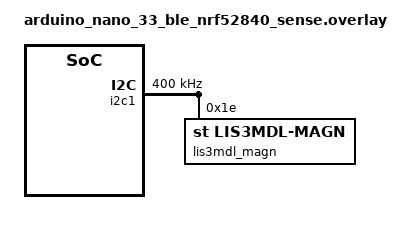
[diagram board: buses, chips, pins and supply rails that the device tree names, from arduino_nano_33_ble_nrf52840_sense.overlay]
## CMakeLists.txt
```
# SPDX-License-Identifier: Apache-2.0

cmake_minimum_required(VERSION 3.20.0)
find_package(Zephyr REQUIRED HINTS $ENV{ZEPHYR_BASE})
project(boreas)

target_sources(
    app
    PRIVATE
    src/environment.cpp
    src/environment.hpp
    src/imu.cpp
    src/imu.hpp
    src/main.cpp
    src/universalConstants.hpp
)
```

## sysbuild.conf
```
SB_CONFIG_BOOTLOADER_MCUBOOT=y
SB_CONFIG_BOOT_SIGNATURE_KEY_FILE="\${APPLICATION_CONFIG_DIR}/priv.pem"
SB_CONFIG_BOOT_SIGNATURE_TYPE_ECDSA_P256=y
SB_CONFIG_MCUBOOT_MODE_SINGLE_APP=y
```

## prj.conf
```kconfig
# Zephyr drivers
CONFIG_GPIO=y
CONFIG_SENSOR=y
CONFIG_I2C=y

# IMU drivers (LSM9DS1 for gyro and accelerometer, LIS3MDL for magnetometer)
CONFIG_LSM9DS1=y
CONFIG_LIS3MDL=y

# 80 Hz sampling rate for magnetometer
CONFIG_LIS3MDL_ODR="80"

# Enable logging via Segger realtime terminal
CONFIG_LOG=y
CONFIG_LOG_INFO_COLOR_GREEN=y
CONFIG_LOG_DBG_COLOR_BLUE=y
CONFIG_CBPRINTF_FP_SUPPORT=y
CONFIG_USE_SEGGER_RTT=y
CONFIG_DEBUG_OPTIMIZATIONS=y

CONFIG_HTS221_TRIGGER_NONE=y

# Enable C++ and standard library
CONFIG_CPP=y
CONFIG_NEWLIB_LIBC=y
CONFIG_GLIBCXX_LIBCPP=y
CONFIG_COMPILER_WARNINGS_AS_ERRORS=y

# Enable floating point support in multi-threaded environment
CONFIG_FPU=y
CONFIG_FPU_SHARING=y

# Zephyr scientific library
CONFIG_ZSL=y
CONFIG_ZSL_SINGLE_PRECISION=y
```

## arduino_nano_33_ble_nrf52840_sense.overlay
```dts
// To get started, press Ctrl+Space to bring up the completion menu and view the available nodes.

// You can also use the buttons in the sidebar to perform actions on nodes.
// Actions currently available include:

// * Enabling / disabling the node
// * Adding the bus to a bus
// * Removing the node
// * Connecting ADC channels

// For more help, browse the DeviceTree documentation at https: //docs.zephyrproject.org/latest/guides/dts/index.html
// You can also visit the nRF DeviceTree extension documentation at https: //docs.nordicsemi.com/bundle/nrf-connect-vscode/page/guides/ncs_configure_app.html#devicetree-support-in-the-extension

/{
	chosen{
		zephyr,code-partition = &slot0_partition;
	};
};

&lsm9ds1 {
	// Accelerometer and gyro set to measure at 59.5 Hz
	imu-odr = <34>;
};

&i2c1 {
	lis3mdl_magn: lis3mdl-magn@1e {
		compatible = "st,lis3mdl-magn";
		reg = <0x1e>;
		status = "okay";
	};

	clock-frequency = <I2C_BITRATE_FAST>;
};

&flash0 {
	/delete-node/ partitions;

	partitions {
		compatible = "fixed-partitions";
		#address-cells = <1>;
		#size-cells = <1>;

		boot_partition: partition@0 {
			label = "mcuboot";
			reg = <0x00000000 0x0000C000>;
		};

		slot0_partition: partition@c000 {
			label = "image-0";
			reg = <0x0000C000 0x00077000>;
		};

		slot1_partition: partition@83000 {
			label = "image-1";
			reg = <0x00083000 0x00075000>;
		};

		/*
		 * The flash starting at 0x000f8000 and ending at
		 * 0x000fffff is reserved for use by the application.
		 */

		/*
		 * Storage partition will be used by FCB/LittleFS/NVS
		 * if enabled.
		 */
		storage_partition: partition@f8000 {
			label = "storage";
			reg = <0x000f8000 0x00008000>;
		};
	};
};
```

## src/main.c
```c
/*
 * Copyright (c) 2016 Intel Corporation
 *
 * SPDX-License-Identifier: Apache-2.0
 */

#include <stdio.h>
#include <zephyr/kernel.h>
#include <zephyr/drivers/gpio.h>
#include <zephyr/drivers/sensor.h>

/* 1000 msec = 1 sec */
#define SLEEP_TIME_MS 1000

/* The devicetree node identifier for the "led0" alias. */
#define LED3_NODE DT_ALIAS(led3)

/*
 * A build error on this line means your board is unsupported.
 * See the sample documentation for information on how to fix this.
 */
static const struct gpio_dt_spec led = GPIO_DT_SPEC_GET(LED3_NODE, gpios);

static inline float out_ev(struct sensor_value *val)
{
	return (val->val1 + (float)val->val2 / 1000000);
}

static void process_sample_imu(const struct device *dev)
{
	struct sensor_value x, y, z;

	/* lsm6dso accel */
	sensor_sample_fetch_chan(dev, SENSOR_CHAN_ACCEL_XYZ);
	sensor_channel_get(dev, SENSOR_CHAN_ACCEL_X, &x);
	sensor_channel_get(dev, SENSOR_CHAN_ACCEL_Y, &y);
	sensor_channel_get(dev, SENSOR_CHAN_ACCEL_Z, &z);

	printk("%s\t - accel x:%f ms/2 y:%f ms/2 z:%f ms/2\n", dev->name, (double)out_ev(&x), (double)out_ev(&y), (double)out_ev(&z));

	/* lsm6dso gyro */
	sensor_sample_fetch_chan(dev, SENSOR_CHAN_GYRO_XYZ);
	sensor_channel_get(dev, SENSOR_CHAN_GYRO_X, &x);
	sensor_channel_get(dev, SENSOR_CHAN_GYRO_Y, &y);
	sensor_channel_get(dev, SENSOR_CHAN_GYRO_Z, &z);

	printk("%s\t - gyro x:%f rad/s y:%f rad/s z:%f rad/s\n", dev->name, (double)out_ev(&x), (double)out_ev(&y), (double)out_ev(&z));
}

static int set_sampling_freq_imu(const struct device *dev)
{
	int ret = 0;
	struct sensor_value odr_attr;

	/* set accel/gyro sampling frequency to 12.5 Hz */
	odr_attr.val1 = 12.5;
	odr_attr.val2 = 0;

	ret = sensor_attr_set(dev, SENSOR_CHAN_ACCEL_XYZ,
						  SENSOR_ATTR_SAMPLING_FREQUENCY, &odr_attr);
	if (ret != 0)
	{
		printk("Cannot set sampling frequency for accelerometer.\n");
		return ret;
	}

	ret = sensor_attr_set(dev, SENSOR_CHAN_GYRO_XYZ,
						  SENSOR_ATTR_SAMPLING_FREQUENCY, &odr_attr);
	if (ret != 0)
	{
		printk("Cannot set sampling frequency for gyro.\n");
		return ret;
	}

	return 0;
}

static void process_sample_pressure(const struct device *dev)
{
	struct sensor_value pressure, temp;

	if (sensor_sample_fetch(dev) < 0)
	{
		printk("Sensor sample update error\n");
		return;
	}

	if (sensor_channel_get(dev, SENSOR_CHAN_PRESS, &pressure) < 0)
	{
		printk("Cannot read LPS22HB pressure channel\n");
		return;
	}

	if (sensor_channel_get(dev, SENSOR_CHAN_AMBIENT_TEMP, &temp) < 0)
	{
		printk("Cannot read LPS22HB temperature channel\n");
		return;
	}

	/* display pressure */
	printk("%s\t - Pressure:%.1f kPa\n", dev->name, sensor_value_to_double(&pressure));

	/* display temperature */
	printk("%s\t - Temperature:%.1f C\n", dev->name, sensor_value_to_double(&temp));
}

static void process_sample_humidity(const struct device *dev)
{
	struct sensor_value temp, hum;
	if (sensor_sample_fetch(dev) < 0)
	{
		printk("Sensor sample update error\n");
		return;
	}

	if (sensor_channel_get(dev, SENSOR_CHAN_AMBIENT_TEMP, &temp) < 0)
	{
		printk("Cannot read HTS221 temperature channel\n");
		return;
	}

	if (sensor_channel_get(dev, SENSOR_CHAN_HUMIDITY, &hum) < 0)
	{
		printk("Cannot read HTS221 humidity channel\n");
		return;
	}

	/* display temperature */
	printk("%s\t - Temperature:%.1f C\n", dev->name, sensor_value_to_double(&temp));

	/* display humidity */
	printk("%s\t - Relative Humidity:%.1f%%\n", dev->name, sensor_value_to_double(&hum));
}

int main(void)
{
	int ret;
	bool ledState = true;

	const struct device *const imu = DEVICE_DT_GET_ONE(st_lsm9ds1);
	const struct device *const pressureSensor = DEVICE_DT_GET_ONE(st_lps22hb_press);
	const struct device *const humiditySensor = DEVICE_DT_GET_ONE(st_hts221);

	if (!device_is_ready(imu))
	{
		printk("%s: device not ready.\n", imu->name);
		return 0;
	}

	if (!device_is_ready(pressureSensor))
	{
		printk("%s: device not ready.\n", pressureSensor->name);
		return 0;
	}

	if (!device_is_ready(humiditySensor))
	{
		printk("%s: device not ready.\n", humiditySensor->name);
		return 0;
	}

	if (!gpio_is_ready_dt(&led))
	{
		printk("LED GPIO not ready.\n");
		return 0;
	}

	ret = gpio_pin_configure_dt(&led, GPIO_OUTPUT_ACTIVE);
	if (ret < 0)
	{
		return 0;
	}

	if (set_sampling_freq_imu(imu) != 0)
	{
		return 0;
	}

	while (1)
	{
		ret = gpio_pin_toggle_dt(&led);
		if (ret < 0)
		{
			return 0;
		}

		ledState = !ledState;
		printk("LED state: %s\n", ledState ? "ON" : "OFF");
		process_sample_imu(imu);
		process_sample_pressure(pressureSensor);
		process_sample_humidity(humiditySensor);
		k_msleep(SLEEP_TIME_MS);
	}
	return 0;
}
```

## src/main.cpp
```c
/*
 * Copyright (c) 2016 Intel Corporation
 *
 * SPDX-License-Identifier: Apache-2.0
 */

#include "environment.hpp"
#include "imu.hpp"

#include <zephyr/kernel.h>
#include <zephyr/drivers/gpio.h>
#include <zephyr/logging/log.h>

/* 1000 msec = 1 sec */
#define sleepTime_MS 1000

/* The devicetree node identifier for the "led0" alias. */
#define LED3_NODE DT_ALIAS(led3)

#define IMU_STACK_SIZE 1000
#define IMU_PRIORITY 5
#define ENVIRONMENT_STACK_SIZE 500
#define ENVIRONMENT_PRIORITY 6

/*
 * A build error on this line means your board is unsupported.
 * See the sample documentation for information on how to fix this.
 */
static const struct gpio_dt_spec led = GPIO_DT_SPEC_GET(LED3_NODE, gpios);

LOG_MODULE_REGISTER(app);

K_THREAD_DEFINE(imu_tid, IMU_STACK_SIZE,
				Imu::thread, NULL, NULL, NULL,
				IMU_PRIORITY, 0, 0);

K_THREAD_DEFINE(environment_tid, ENVIRONMENT_STACK_SIZE,
				Env::thread, NULL, NULL, NULL,
				ENVIRONMENT_PRIORITY, 0, 0);

int main(void)
{
	int ret;
	bool ledState = true;

	if (!gpio_is_ready_dt(&led))
	{
		LOG_ERR("LED GPIO not ready.");
		return 0;
	}

	ret = gpio_pin_configure_dt(&led, GPIO_OUTPUT_ACTIVE);
	if (ret < 0)
	{
		LOG_ERR("Failed to configure LED GPIO as output.");
		return 0;
	}

	while (1)
	{
		ret = gpio_pin_toggle_dt(&led);
		if (ret < 0)
		{
			LOG_ERR("Failed to toggle LED GPIO.");
			return 0;
		}

		ledState = !ledState;

		k_msleep(sleepTime_MS);
	}

	return 0;
}
```

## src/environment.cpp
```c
#include "environment.hpp"

#include "universalConstants.hpp"

#include <zephyr/kernel.h>
#include <zephyr/drivers/sensor.h>
#include <zephyr/logging/log.h>

#include <zsl/zsl.h>

#include <cmath>

LOG_MODULE_REGISTER(environment);

namespace Env
{
    constexpr int64_t environmentTaskDurationMs{1000};
    constexpr float gravityEarth{ZSL_GRAV_EARTH};
    constexpr float idealGasConstant{ZSL_IDEAL_GAS_CONST};

    static bool process_sample_pressure(const struct device *dev, struct sensor_value *pressure)
    {
        if (sensor_sample_fetch(dev) < 0)
        {
            LOG_ERR("LPS22HB sample update error");
            return false;
        }

        if (sensor_channel_get(dev, SENSOR_CHAN_PRESS, pressure) < 0)
        {
            LOG_ERR("Cannot read LPS22HB pressure channel");
            return false;
        }

        return true;
    }

    static bool process_sample_humidity(const struct device *dev, struct sensor_value *temperature, struct sensor_value *humidity)
    {
        if (sensor_sample_fetch(dev) < 0)
        {
            LOG_ERR("HTS221 sample update error");
            return false;
        }

        if (sensor_channel_get(dev, SENSOR_CHAN_AMBIENT_TEMP, temperature) < 0)
        {
            LOG_ERR("Cannot read HTS221 temperature channel");
            return false;
        }

        if (sensor_channel_get(dev, SENSOR_CHAN_HUMIDITY, humidity) < 0)
        {
            LOG_ERR("Cannot read HTS221 humidity channel");
            return false;
        }

        return true;
    }

    constexpr float celsius2kelvin(float celsius)
    {
        return celsius + 273.15F;
    }

    float calculateAltitude(float pressureReference, float pressure, float temperature)
    {
        constexpr float barometricExponent{idealGasConstant * standardLapseRate / (gravityEarth * molarMassAir)};
        return ((std::pow(pressureReference / pressure, barometricExponent) - 1.0F) * celsius2kelvin(temperature)) / standardLapseRate;
    }

    void thread(void *, void *, void *)
    {
        float pressureReference{0.0};

        const struct device *const pressureSensor = DEVICE_DT_GET_ONE(st_lps22hb_press);
        const struct device *const humiditySensor = DEVICE_DT_GET_ONE(st_hts221);

        if (!device_is_ready(pressureSensor))
        {
            LOG_ERR("%s: device not ready.", pressureSensor->name);
            return;
        }

        if (!device_is_ready(humiditySensor))
        {
            LOG_ERR("%s: device not ready.", humiditySensor->name);
            return;
        }

        int i{0};
        while (i < 10)
        {
            struct sensor_value pressureRaw{};
            const bool successPressure{process_sample_pressure(pressureSensor, &pressureRaw)};
            k_msleep(100);

            if (!successPressure)
            {
                continue;
            }

            const float currentPressure{sensor_value_to_float(&pressureRaw)};
            pressureReference += (currentPressure - pressureReference) / (static_cast<float>(i) + 1.0F);
            ++i;
        }

        LOG_INF("Reference pressure: %.5f kPa", static_cast<double>(pressureReference));

        while (true)
        {
            int64_t startTime = k_uptime_get();

            struct sensor_value pressureRaw{}, temperatureRaw{}, humidityRaw{};
            const bool successPressure{process_sample_pressure(pressureSensor, &pressureRaw)};
            if (successPressure)
            {
                LOG_INF("Pressure:%.5f kPa", sensor_value_to_double(&pressureRaw));
            }

            const bool successTempAndHum{process_sample_humidity(humiditySensor, &temperatureRaw, &humidityRaw)};
            if (successTempAndHum)
            {
                // Temperature seems to be inaccurate when powered via USB due to self-heating
                LOG_INF("Temperature:%.1f C", sensor_value_to_double(&temperatureRaw));
                LOG_INF("Relative Humidity:%.1f%%", sensor_value_to_double(&humidityRaw));
            }

            if (successPressure && successTempAndHum)
            {
                const float pressure{sensor_value_to_float(&pressureRaw)};
                const float temperature{sensor_value_to_float(&temperatureRaw)};
                const float altitude{calculateAltitude(pressureReference, pressure, temperature)};
                LOG_INF("Relative altitude:%.2f m", static_cast<double>(altitude));
            }

            int64_t elapsedTime = k_uptime_get() - startTime;
            int64_t sleepTime = environmentTaskDurationMs - elapsedTime; // Calculate remaining time

            if (sleepTime > 0)
            {
                k_msleep(sleepTime); // Sleep until next cycle
            }
            else
            {
                LOG_ERR("Deadline missed. Elapsed time %lld ms", elapsedTime);
            }
        }
    }
}
```

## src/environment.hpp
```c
#ifndef ENVIRONMENT_HPP_INCLUDED
#define ENVIRONMENT_HPP_INCLUDED

namespace Env
{
    void thread(void *, void *, void *);
}

#endif
```

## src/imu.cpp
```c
#include "imu.hpp"

#include "universalConstants.hpp"

#include <zephyr/kernel.h>
#include <zephyr/drivers/sensor.h>
#include <zephyr/logging/log.h>

#include <zsl/zsl.h>
#include <zsl/orientation/orientation.h>

#include <cmath>

LOG_MODULE_REGISTER(imu);

namespace Imu
{
    constexpr float pi_f{ZSL_PI};
    constexpr float degToRad_f{ZSL_DEG_TO_RAD};
    constexpr float radToDeg_f{ZSL_RAD_TO_DEG};

    constexpr int64_t imuTaskDurationMs{static_cast<int64_t>(1000.0 / 59.5)};
    constexpr float imuTaskDuration_f{static_cast<float>(imuTaskDurationMs) / 1000.0F};

    constexpr float varianceAccelerometerNoise{0.09F * static_cast<float>(ZSL_GRAV_EARTH)}; // Zero-g level offset 90 mg
    constexpr float varianceGyrometerNoise{30.0F * static_cast<float>(ZSL_RAD_TO_DEG)};     // Zero-rate output 30 dps

    constexpr float absoluteSquareAccelerationLowerThreshold{0.8F * static_cast<float>(ZSL_GRAV_EARTH) * 0.8F * static_cast<float>(ZSL_GRAV_EARTH)};
    constexpr float absoluteSquareAccelerationUpperThreshold{1.2F * static_cast<float>(ZSL_GRAV_EARTH) * 1.2F * static_cast<float>(ZSL_GRAV_EARTH)};

    float wrapToPi(float angle)
    {
        angle = std::fmod(angle + pi_f, 2.0F * pi_f);
        if (angle < 0)
        {
            angle += 2.0F * pi_f;
        }
        return angle - pi_f;
    }

    void thread(void *, void *, void *)
    {
        const struct device *const imu = DEVICE_DT_GET_ONE(st_lsm9ds1);
        if (!device_is_ready(imu))
        {
            LOG_ERR("%s: device not ready.", imu->name);
            return;
        }

        const struct device *const mag = DEVICE_DT_GET_ONE(st_lis3mdl_magn);
        if (!device_is_ready(mag))
        {
            LOG_ERR("%s: device not ready.", mag->name);
            return;
        }

        // Initial guess for system state
        float rollAngleEstimate{0.0F};
        float pitchAngleEstimate{0.0F};
        float yawAngleEstimate{0.0F};

        float rollAnglePredicted{0.0F};
        float pitchAnglePredicted{0.0F};
        float yawAnglePredicted{0.0F};

        float varianceOrientationEstimate{1.0F};

        float kalmanGain{0.0F};

        unsigned int count{0U};
        while (true)
        {
            int64_t startTime = k_uptime_get();
            struct sensor_value axRaw{}, ayRaw{}, azRaw{};
            struct sensor_value rollRateRaw{}, pitchRateRaw{}, yawRateRaw{};
            struct sensor_value magXRaw{}, magYRaw{}, magZRaw{};

            // 1. Measure
            int64_t accelGyroFetchStart = k_uptime_get();
            int success{sensor_sample_fetch_chan(imu, SENSOR_CHAN_ALL)};
            if (success != 0)
            {
                LOG_ERR("Error fetching accelerometer and gyroscope data.");
                continue; // Skip this iteration if the fetch fails
            }

            int64_t accelGyroFetchEnd = k_uptime_get();

            sensor_channel_get(imu, SENSOR_CHAN_ACCEL_X, &axRaw);
            sensor_channel_get(imu, SENSOR_CHAN_ACCEL_Y, &ayRaw);
            sensor_channel_get(imu, SENSOR_CHAN_ACCEL_Z, &azRaw);
            sensor_channel_get(imu, SENSOR_CHAN_GYRO_X, &rollRateRaw);
            sensor_channel_get(imu, SENSOR_CHAN_GYRO_Y, &pitchRateRaw);
            sensor_channel_get(imu, SENSOR_CHAN_GYRO_Z, &yawRateRaw);

            int64_t magFetchStart = k_uptime_get();
            success = sensor_sample_fetch_chan(mag, SENSOR_CHAN_MAGN_XYZ);
            if (success != 0)
            {
                LOG_ERR("Error fetching magnetometer data.");
                continue; // Skip this iteration if the fetch fails
            }

            int64_t magFetchEnd = k_uptime_get();

            sensor_channel_get(mag, SENSOR_CHAN_MAGN_X, &magXRaw);
            sensor_channel_get(mag, SENSOR_CHAN_MAGN_Y, &magYRaw);
            sensor_channel_get(mag, SENSOR_CHAN_MAGN_Z, &magZRaw);

            zsl_real_t accelerationMeasured[3] = {
                sensor_value_to_float(&axRaw),
                sensor_value_to_float(&ayRaw),
                sensor_value_to_float(&azRaw)};

            zsl_real_t magneticFieldMeasured[3] = {
                sensor_value_to_float(&magXRaw),
                sensor_value_to_float(&magYRaw),
                sensor_value_to_float(&magZRaw)};

            float rollRateMeasured{sensor_value_to_float(&rollRateRaw)};
            float pitchRateMeasured{sensor_value_to_float(&pitchRateRaw)};
            float yawRateMeasured{sensor_value_to_float(&yawRateRaw)};

            float absoluteAccelerationSquared{
                accelerationMeasured[0] * accelerationMeasured[0] +
                accelerationMeasured[1] * accelerationMeasured[1] +
                accelerationMeasured[2] * accelerationMeasured[2]};

            // Cannot use data from accelerometer with high disturbances away from earth acceleration
            int64_t attitudeStart{0}, attitudeEnd{0};
            if ((absoluteAccelerationSquared >= absoluteSquareAccelerationLowerThreshold) && (absoluteAccelerationSquared <= absoluteSquareAccelerationUpperThreshold))
            {
                struct zsl_vec accelVec{};
                accelVec.sz = 3;
                accelVec.data = accelerationMeasured;

                struct zsl_vec magVec{};
                magVec.sz = 3;
                magVec.data = magneticFieldMeasured;

                // Yaw angle can only be measured based on magnetometer
                zsl_attitude attitudeAccelMag{};
                attitudeStart = k_uptime_get();
                if (zsl_att_from_accelmag(&accelVec, &magVec, &attitudeAccelMag) != 0)
                {
                    LOG_ERR("Error calculating roll and pitch from accelerometer data.");
                    continue; // Skip this iteration if the calculation fails
                }
                attitudeEnd = k_uptime_get();

                // 2.1 Calculate gain
                kalmanGain = varianceOrientationEstimate / (varianceOrientationEstimate + varianceAccelerometerNoise);

                // 2.2 Covariance update
                varianceOrientationEstimate = (1.0F - kalmanGain) * varianceOrientationEstimate;

                // 2.3 State update
                rollAngleEstimate += kalmanGain * (degToRad_f * attitudeAccelMag.roll - rollAnglePredicted);
                pitchAngleEstimate += kalmanGain * (degToRad_f * attitudeAccelMag.pitch - pitchAnglePredicted);
                yawAngleEstimate += kalmanGain * (degToRad_f * attitudeAccelMag.yaw - yawAnglePredicted);

                // Clamp to [-pi, +pi]
                rollAngleEstimate = wrapToPi(rollAngleEstimate);
                pitchAngleEstimate = wrapToPi(pitchAngleEstimate);
                yawAngleEstimate = wrapToPi(yawAngleEstimate);
            }
            else
            {
                LOG_WRN("High disturbance detected. Skipping accelerometer data.");
            }

            // 3.1 State prediction
            rollAnglePredicted = rollAngleEstimate + rollRateMeasured * imuTaskDuration_f;
            pitchAnglePredicted = pitchAngleEstimate + pitchRateMeasured * imuTaskDuration_f;
            yawAnglePredicted = yawAngleEstimate + yawRateMeasured * imuTaskDuration_f;

            // 3.2 Covariance prediction
            varianceOrientationEstimate += imuTaskDuration_f * imuTaskDuration_f * varianceGyrometerNoise;

            // Clamp to [-pi, +pi]
            rollAnglePredicted = wrapToPi(rollAnglePredicted);
            pitchAnglePredicted = wrapToPi(pitchAnglePredicted);
            yawAnglePredicted = wrapToPi(yawAnglePredicted);

            ++count;
            if (count % 50 == 0)
            {
                LOG_INF("orientation fused x:%f° y:%f° z:%f°", static_cast<double>(radToDeg_f * rollAngleEstimate), static_cast<double>(radToDeg_f * pitchAngleEstimate), static_cast<double>(radToDeg_f * yawAngleEstimate));
            }

            int64_t elapsedTime = k_uptime_get() - startTime;
            int64_t sleepTime = imuTaskDurationMs - elapsedTime; // Calculate remaining time

            if (sleepTime > 0)
            {
                k_msleep(sleepTime); // Sleep until next cycle
            }
            else
            {
                LOG_ERR("Deadline missed. Elapsed time %lld ms", elapsedTime);
                LOG_INF("Accelerometer/Gyroscope fetch time: %lld ms", accelGyroFetchEnd - accelGyroFetchStart);
                LOG_INF("Magnetometer fetch time: %lld ms", magFetchEnd - magFetchStart);
                LOG_INF("Attitude calculation time: %lld ms", attitudeEnd - attitudeStart);
            }
        }
    }
}
```

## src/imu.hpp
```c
#ifndef IMU_HPP_INCLUDED
#define IMU_HPP_INCLUDED

namespace Imu
{
    void thread(void *, void *, void *);
}

#endif
```

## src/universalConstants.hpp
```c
#ifndef UNIVERSAL_CONSTANTS_HPP_INCLUDED
#define UNIVERSAL_CONSTANTS_HPP_INCLUDED

constexpr float standardLapseRate{0.0065F};   // K/m
constexpr float molarMassAir{0.0029F};         // kg/mol

#endif
```
